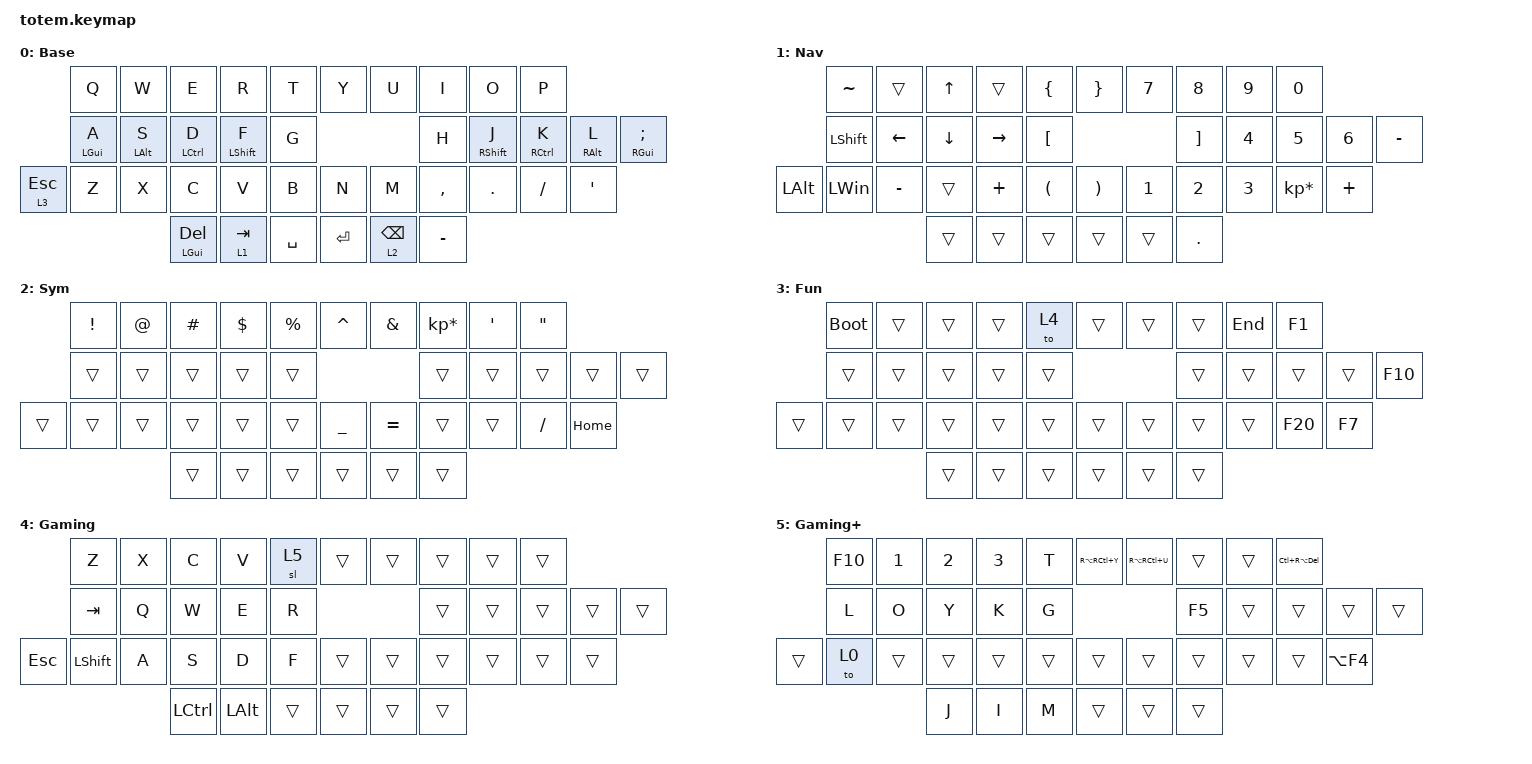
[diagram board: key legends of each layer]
//
//                                                        ▀▀▀▀▀     ▀▀▀▀▀          ▀▀█▀▀
//                                                        ▄▀▀▀▄  ▄  ▄▀▀▀▄  ▄  ▄▀▀▀▄  █  ▄▀▀▀▄
//                                                        █   █  █  █   █  █  █   █  █  █   █
//                                                         ▀▀▀   █   ▀▀▀   █   ▀▀▀   ▀   ▀▀▀
//                                                               █      ▄▄▄█▄▄▄    █   █  
//                                                               ▀      █  █  █     █▄█
//                                                             ▀▀▀▀▀    █  █  █      ▀
//                                                                      ▀  ▀  ▀
//
// ▄▄▄▄▄▄▄▄▄▄▄▄▄▄▄▄▄▄▄▄▄▄▄▄▄▄▄▄▄▄▄▄▄▄▄▄▄▄▄▄▄▄▄▄▄▄▄▄▄▄▄▄▄▄▄▄▄▄▄▄▄▄▄▄▄▄▄▄▄▄▄▄▄▄▄▄▄▄▄▄▄▄▄▄▄▄▄▄▄▄▄▄▄▄▄▄▄▄▄▄▄▄▄▄▄▄▄▄▄▄▄▄▄▄▄▄▄▄▄▄▄▄▄▄▄▄▄▄▄▄▄▄▄▄▄▄▄▄▄▄▄▄▄▄▄▄▄▄▄

#include <behaviors.dtsi>
#include <dt-bindings/zmk/keys.h>

#define Base        0
#define Media       1
#define Nav         2
#define Mouse       3
#define Sym         4
#define Num         5
#define Fun         6
#define Button      7
#define Game        8
#define Gameplus    9

&mt {
    quick-tap-ms = <100>;
    global-quick-tap;
    flavor = "tap-preferred";
    tapping-term-ms = <170>;
};

&lt {
    tapping-term-ms = <240>;
    flavor = "balanced";
    quick-tap-ms = <150>;
};

 //             |  0  |  1  |  2  |  3  |  4  |      |  5  |  6  |  7  |  8  |  9  |
 //             | 10  | 11  | 12  | 13  | 14  |      | 15  | 16  | 17  | 18  | 19  | 
 //       | 20  | 21  | 22  | 23  | 24  | 25  |      | 26  | 27  | 28  | 29  | 30  | 31  |
 //      

/ {
    behaviors {
        lh_pht: left_positional_hold_tap {
            compatible = "zmk,behavior-hold-tap";
            #binding-cells = <2>;
            flavor = "tap-unless-interrupted";
            tapping-term-ms = <100>;                        // <---[[produces tap if held longer than tapping-term-ms]]
            quick-tap-ms = <200>;
            bindings = <&kp>, <&kp>;
            hold-trigger-key-positions = <5 6 7 8 9 15 16 17 18 19 26 27 28 29 30>;    // <---[[right-hand keys]]
        };
        rh_pht: right_positional_hold_tap {
            compatible = "zmk,behavior-hold-tap";
            #binding-cells = <2>;
            flavor = "tap-unless-interrupted";
            tapping-term-ms = <100>;                        // <---[[produces tap if held longer than tapping-term-ms]]
            quick-tap-ms = <200>;
            bindings = <&kp>, <&kp>;
            hold-trigger-key-positions = <0 1 2 3 4 10 11 12 13 14 21 22 23 24 25>;    // <---[[left-hand keys]]
        };
    };

    combos { compatible = "zmk,combos"; };

    keymap {
        compatible = "zmk,keymap";

        Base {
            label = "Base";
            bindings = <
              &kp Q       &kp W       &kp E          &kp R         &kp T        &kp Y    &kp U        &kp I        &kp O       &kp P
              &lh_pht LGUI A  &lh_pht LALT S  &lh_pht LCTRL D    &lh_pht LSHIFT F  &kp G        &kp H    &rh_pht RSHFT J  &rh_pht RCTRL K  &rh_pht RALT L  &rh_pht RGUI SEMICOLON
&lt 3 ESCAPE  &kp Z       &kp X       &kp C          &kp V         &kp B        &kp N    &kp M        &kp COMMA    &kp DOT     &kp SLASH           &kp APOSTROPHE
                                      &mt LGUI DEL  &lt 1 TAB     &kp SPACE    &kp RET  &lt 2 BSPC   &kp MINUS
            >;
        };

        Nav {
            label = "Nav";
            bindings = <
              &kp TILDE       &trans     &kp UP_ARROW  &trans     &kp LBRC    &kp RBRC  &kp NUMBER_7  &kp NUMBER_8  &kp NUMBER_9  &kp NUMBER_0
              &kp LEFT_SHIFT  &kp LEFT   &kp DOWN      &kp RIGHT  &kp LBKT    &kp RBKT  &kp NUMBER_4  &kp NUMBER_5  &kp NUMBER_6  &kp MINUS
&kp LEFT_ALT  &kp LEFT_WIN    &kp MINUS  &trans        &kp PLUS   &kp LPAR    &kp RPAR  &kp NUMBER_1  &kp NUMBER_2  &kp NUMBER_3  &kp KP_MULTIPLY  &kp PLUS
                                         &trans        &trans     &trans      &trans    &trans        &kp DOT
            >;
        };

        Sym {
            label = "Sym";
            bindings = <
        &kp EXCL  &kp AT  &kp HASH  &kp DOLLAR  &kp PERCENT    &kp CARET  &kp AMPERSAND  &kp KP_ASTERISK  &kp SQT  &kp DQT
        &trans    &trans  &trans    &trans      &trans         &trans     &trans         &trans           &trans   &trans
&trans  &trans    &trans  &trans    &trans      &trans         &kp UNDER  &kp EQUAL      &trans           &trans   &kp SLASH  &kp HOME
                          &trans    &trans      &trans         &trans     &trans         &trans
            >;
        };

        Fun {
            label = "Fun";
            bindings = <
        &bootloader  &trans  &trans  &trans  &to 4     &trans  &trans  &trans  &kp END  &kp F1
        &trans       &trans  &trans  &trans  &trans    &trans  &trans  &trans  &trans   &kp F10
&trans  &trans       &trans  &trans  &trans  &trans    &trans  &trans  &trans  &trans   &kp F20  &kp F7
                             &trans  &trans  &trans    &trans  &trans  &trans
            >;
        };

        Gaming {
            bindings = <
            &kp Z           &kp X  &kp C      &kp V         &sl 5     &trans  &trans  &trans  &trans  &trans
            &kp TAB         &kp Q  &kp W      &kp E         &kp R     &trans  &trans  &trans  &trans  &trans
&kp ESCAPE  &kp LEFT_SHIFT  &kp A  &kp S      &kp D         &kp F     &trans  &trans  &trans  &trans  &trans  &trans
                                   &kp LCTRL  &kp LEFT_ALT  &trans    &trans  &trans  &trans
            >;

            label = "Gaming";
        };

        Gaming+ {
            bindings = <
        &kp F10  &kp NUMBER_1  &kp NUMBER_2  &kp NUMBER_3  &kp T     &kp RA(RC(Y))  &kp RA(RC(U))  &trans  &trans  &kp LC(RA(DEL))
        &kp L    &kp O         &kp Y         &kp K         &kp G     &kp F5         &trans         &trans  &trans  &trans
&trans  &to 0    &trans        &trans        &trans        &trans    &trans         &trans         &trans  &trans  &trans           &kp LA(F4)
                               &kp J         &kp I         &kp M     &trans         &trans         &trans
            >;

            label = "Gaming+";
        };
    };
};
